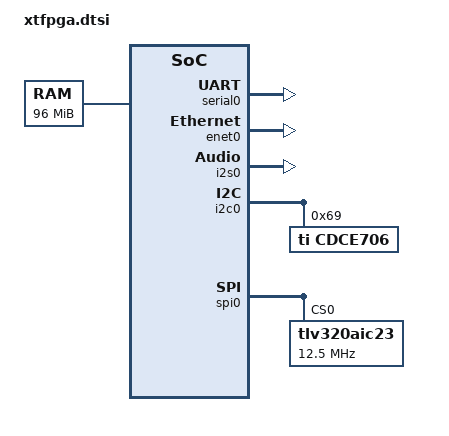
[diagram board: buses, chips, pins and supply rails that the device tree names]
/ {
	compatible = "cdns,xtensa-xtfpga";
	#address-cells = <1>;
	#size-cells = <1>;
	interrupt-parent = <&pic>;

	chosen {
		bootargs = "earlycon=uart8250,mmio32,0xfd050020,115200n8 console=ttyS0,115200n8 ip=dhcp root=/dev/nfs rw debug";
	};

	memory@0 {
		device_type = "memory";
		reg = <0x00000000 0x06000000>;
	};

	cpus {
		#address-cells = <1>;
		#size-cells = <0>;
		cpu@0 {
			compatible = "cdns,xtensa-cpu";
			reg = <0>;
			/* Filled in by platform_setup from FPGA register
			 * clock-frequency = <100000000>;
			 */
		};
	};

	pic: pic {
		compatible = "cdns,xtensa-pic";
		/* one cell: internal irq number,
		 * two cells: second cell == 0: internal irq number
		 *            second cell == 1: external irq number
		 */
		#interrupt-cells = <2>;
		interrupt-controller;
	};

	clocks {
		osc: main-oscillator {
			#clock-cells = <0>;
			compatible = "fixed-clock";
		};

		clk54: clk54 {
			#clock-cells = <0>;
			compatible = "fixed-clock";
			clock-frequency = <54000000>;
		};
	};

	soc {
		#address-cells = <1>;
		#size-cells = <1>;
		compatible = "simple-bus";
		ranges = <0x00000000 0xf0000000 0x10000000>;

		serial0: serial@0d050020 {
			device_type = "serial";
			compatible = "ns16550a";
			no-loopback-test;
			reg = <0x0d050020 0x20>;
			reg-shift = <2>;
			interrupts = <0 1>; /* external irq 0 */
			clocks = <&osc>;
		};

		enet0: ethoc@0d030000 {
			compatible = "opencores,ethoc";
			reg = <0x0d030000 0x4000 0x0d800000 0x4000>;
			interrupts = <1 1>; /* external irq 1 */
			local-mac-address = [00 50 c2 13 6f 00];
			clocks = <&osc>;
		};

		i2s0: xtfpga-i2s@0d080000 {
			#sound-dai-cells = <0>;
			compatible = "cdns,xtfpga-i2s";
			reg = <0x0d080000 0x40>;
			interrupts = <2 1>; /* external irq 2 */
			clocks = <&cdce706 4>;
		};

		i2c0: i2c-master@0d090000 {
			compatible = "opencores,i2c-ocores";
			#address-cells = <1>;
			#size-cells = <0>;
			reg = <0x0d090000 0x20>;
			reg-shift = <2>;
			reg-io-width = <1>;
			interrupts = <4 1>;
			clocks = <&osc>;

			cdce706: clock-synth@69 {
				compatible = "ti,cdce706";
				#clock-cells = <1>;
				reg = <0x69>;
				clocks = <&clk54>;
				clock-names = "clk_in0";
			};
		};

		spi0: spi-master@0d0a0000 {
			compatible = "cdns,xtfpga-spi";
			#address-cells = <1>;
			#size-cells = <0>;
			reg = <0x0d0a0000 0xc>;

			tlv320aic23: sound-codec@0 {
				#sound-dai-cells = <0>;
				compatible = "tlv320aic23";
				reg = <0>;
				spi-max-frequency = <12500000>;
			};
		};
	};

	sound {
		compatible = "simple-audio-card";
		simple-audio-card,format = "i2s";
		simple-audio-card,mclk-fs = <256>;

		simple-audio-card,cpu {
			sound-dai = <&i2s0>;
		};

		simple-audio-card,codec {
			sound-dai = <&tlv320aic23>;
			simple-audio-card,bitclock-master = <0>;
			simple-audio-card,frame-master = <0>;
			clocks = <&cdce706 4>;
		};
	};
};
